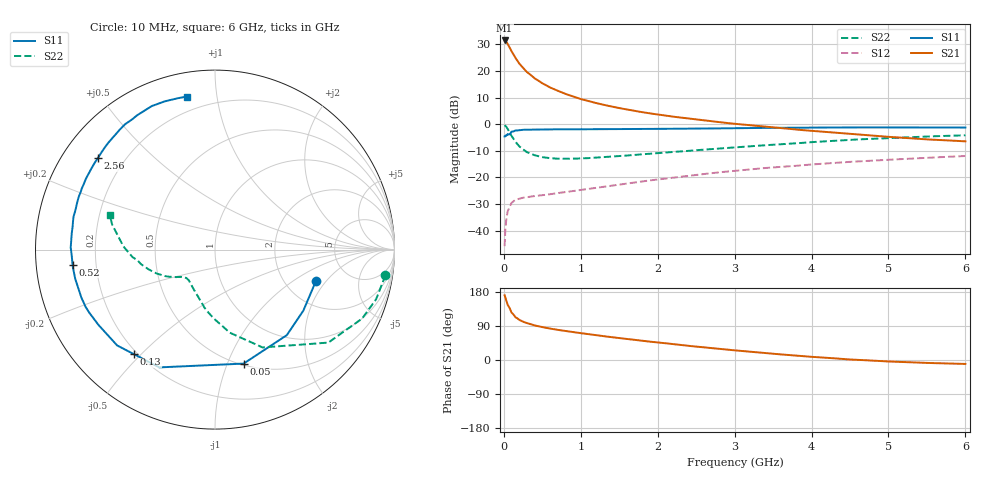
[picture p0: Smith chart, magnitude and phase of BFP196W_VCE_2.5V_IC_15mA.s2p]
! Infineon Technologies  Discrete & RF Semiconductors
! BFP196W
! VCE = 2.5 V,  IC =  15mA
! Common Emitter S-Parameters:  Jan 2016
# GHz  S  MA  R  50
!  f  S11  S21  S12  S22
! GHz  MAG  ANG  MAG  ANG  MAG  ANG  MAG  ANG
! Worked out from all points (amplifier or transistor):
!   210 points, 10 MHz to 6 GHz, reference 50 ohm
!   highest |S21| = 31.5 dB at 10 MHz (marker M1)
!   |S21| within 3 dB of that: start of sweep to 80.74 MHz
!   unconditionally stable (mu >= 1): 968.4 MHz to 3.319 GHz
!   at 185 MHz: K = 0.28, MSG = 25.8 dB, |S12| = -28.2 dB
!   at 1.52 GHz: K = 1.14, MAG = 12.0 dB, |S12| = -22.6 dB
!   at 6 GHz: K = 0.93, MSG = 2.8 dB, |S12| = -11.9 dB
!   S11 on the Smith chart (normalised r, x): 10 MHz: 2.93, -1.58; 50 MHz: 0.51, -1.14; 130 MHz: 0.19, -0.48; 520 MHz: 0.11, -0.05; 2.56 GHz: 0.11, +0.34; 6 GHz: 0.12, +0.83
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0.01  0.5887 -17.4  37.6 170.9  0.0051 81.4  0.9601 -8.6
0.02  0.5983 -34.6  37.48 164.9  0.0108 74.6  0.9394 -17.1
0.03  0.6223 -50.0  36.1 158.1  0.0152 69.7  0.9055 -25.1
0.05  0.6548 -75.9  32.52 145.5  0.023 58.8  0.8166 -39.4
0.1  0.7259 -115.3  23.61 125.1  0.0333 42.0  0.6061 -64.1
0.13  0.7371 -127.7  19.97 118.7  0.036 36.9  0.5196 -72.6
0.15  0.7631 -135.6  17.72 113.1  0.0379 33.9  0.4701 -79.9
0.2  0.7732 -147.2  13.86 106.0  0.0397 30.4  0.3851 -90.8
0.26  0.7883 -156.1  11.04 100.2  0.0418 28.5  0.3292 -100.2
0.3  0.7911 -160.3  9.576 97.1  0.0425 28.1  0.2981 -105.4
0.4  0.7955 -168.1  7.295 91.2  0.0447 28.8  0.2613 -115.0
0.52  0.7979 -174.0  5.695 86.0  0.0467 30.6  0.2386 -123.0
0.6  0.7983 -177.3  4.921 82.9  0.0482 32.1  0.2303 -127.0
0.7  0.804 179.2  4.26 79.6  0.0508 34.4  0.2251 -130.3
1.02  0.8035 170.8  2.929 70.4  0.0585 40.3  0.2283 -137.3
1.42  0.8096 162.5  2.125 59.8  0.0708 45.7  0.2475 -141.9
2.02  0.8205 151.3  1.509 45.9  0.0924 49.6  0.2867 -147.9
2.56  0.8282 142.0  1.199 34.2  0.1142 50.0  0.3295 -154.5
3.1  0.8435 133.2  0.988 23.7  0.1375 48.2  0.3759 -161.9
4.1  0.8659 118.8  0.734 7.1  0.1793 42.4  0.4699 -176.3
5.1  0.8711 107.9  0.568 -4.6  0.2186 35.1  0.5571 170.4
6  0.8669 100.3  0.477 -10.4  0.2529 28.6  0.6191 161.6
